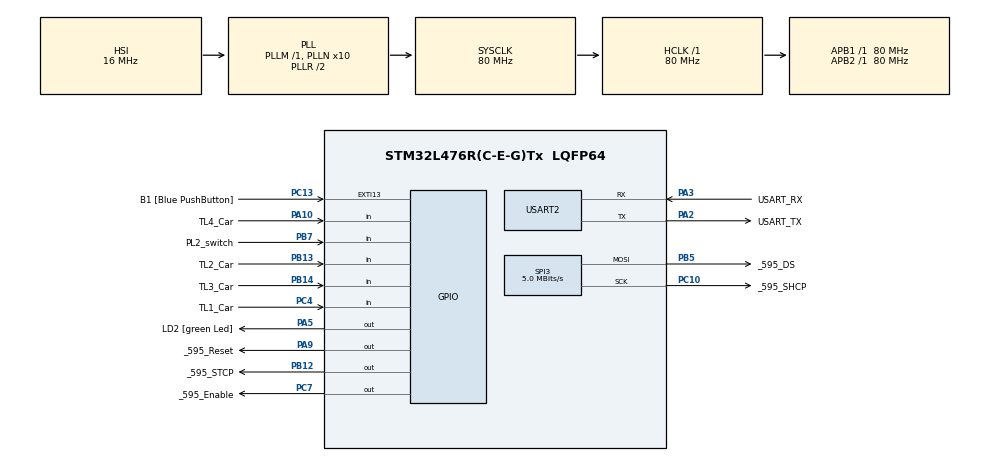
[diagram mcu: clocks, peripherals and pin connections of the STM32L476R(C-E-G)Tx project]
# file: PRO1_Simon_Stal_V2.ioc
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FREERTOS.Mutexes01=SharedData,Dynamic,NULL,Available
FREERTOS.Tasks01=defaultTask,24,128,StartDefaultTask,Default,NULL,Dynamic,NULL,NULL;TrafficStates,24,128,TrafficState,Default,NULL,Dynamic,NULL,NULL;UserInput,8,128,Userinputs,Default,NULL,Dynamic,NULL,NULL
FREERTOS.configUSE_NEWLIB_REENTRANT=1
Mcu.Family=STM32L4
Mcu.Name=STM32L476R(C-E-G)Tx
Mcu.Package=LQFP64
NVIC.PriorityGroup=NVIC_PRIORITYGROUP_4
NVIC.TIM1_UP_TIM16_IRQn=true\:15\:0\:false\:false\:true\:false\:false\:true\:true
NVIC.TimeBase=TIM1_UP_TIM16_IRQn
NVIC.TimeBaseIP=TIM1
NVIC.USART2_IRQn=true\:5\:0\:false\:false\:true\:true\:true\:true\:true
PA10.GPIO_Label=TL4_Car
PA10.GPIO_PuPd=GPIO_PULLUP
PA10.Signal=GPIO_Input
PA13\ (JTMS-SWDIO).GPIO_Label=TMS
PA13\ (JTMS-SWDIO).Mode=Serial_Wire
PA13\ (JTMS-SWDIO).Signal=SYS_JTMS-SWDIO
PA14\ (JTCK-SWCLK).GPIO_Label=TCK
PA14\ (JTCK-SWCLK).Mode=Serial_Wire
PA14\ (JTCK-SWCLK).Signal=SYS_JTCK-SWCLK
PA2.GPIO_Label=USART_TX
PA2.GPIO_Mode=GPIO_MODE_AF_PP
PA2.GPIO_PuPd=GPIO_NOPULL
PA2.GPIO_Speed=GPIO_SPEED_FREQ_VERY_HIGH
PA2.Mode=Asynchronous
PA2.Signal=USART2_TX
PA3.GPIO_Label=USART_RX
PA3.GPIO_Mode=GPIO_MODE_AF_PP
PA3.GPIO_PuPd=GPIO_NOPULL
PA3.GPIO_Speed=GPIO_SPEED_FREQ_VERY_HIGH
PA3.Mode=Asynchronous
PA3.Signal=USART2_RX
PA5.GPIO_Label=LD2 [green Led]
PA5.GPIO_ModeDefaultOutputPP=GPIO_MODE_OUTPUT_PP
PA5.GPIO_PuPd=GPIO_NOPULL
PA5.GPIO_Speed=GPIO_SPEED_FREQ_LOW
PA5.Signal=GPIO_Output
PA9.GPIO_Label=_595_Reset
PA9.Signal=GPIO_Output
PB12.GPIO_Label=_595_STCP
PB12.Signal=GPIO_Output
PB13.GPIO_Label=TL2_Car
PB13.GPIO_PuPd=GPIO_PULLUP
PB13.Signal=GPIO_Input
PB14.GPIO_Label=TL3_Car
PB14.GPIO_PuPd=GPIO_PULLUP
PB14.Signal=GPIO_Input
PB3\ (JTDO-TRACESWO).GPIO_Label=SWO
PB3\ (JTDO-TRACESWO).Signal=SYS_JTDO-SWO
PB5.GPIO_Label=_595_DS
PB5.Mode=TX_Only_Simplex_Unidirect_Master
PB5.Signal=SPI3_MOSI
PB7.GPIO_Label=PL2_switch
PB7.GPIO_PuPd=GPIO_PULLUP
PB7.Signal=GPIO_Input
PC10.GPIO_Label=_595_SHCP
PC10.Mode=TX_Only_Simplex_Unidirect_Master
PC10.Signal=SPI3_SCK
PC13.GPIO_Label=B1 [Blue PushButton]
PC13.GPIO_ModeDefaultEXTI=GPIO_MODE_IT_FALLING
PC13.GPIO_PuPd=GPIO_NOPULL
PC13.Signal=GPXTI13
PC14-OSC32_IN\ (PC14).Mode=LSE-External-Oscillator
PC14-OSC32_IN\ (PC14).Signal=RCC_OSC32_IN
PC15-OSC32_OUT\ (PC15).Mode=LSE-External-Oscillator
PC15-OSC32_OUT\ (PC15).Signal=RCC_OSC32_OUT
PC4.GPIO_Label=TL1_Car
PC4.GPIO_PuPd=GPIO_PULLUP
PC4.Signal=GPIO_Input
PC7.GPIO_Label=_595_Enable
PC7.Signal=GPIO_Output
PH0-OSC_IN\ (PH0).Signal=RCC_OSC_IN
PH1-OSC_OUT\ (PH1).Signal=RCC_OSC_OUT
ProjectManager.HeapSize=0x200
ProjectManager.StackSize=0x400
ProjectManager.TargetToolchain=STM32CubeIDE
RCC.ADCFreq_Value=64000000
RCC.AHBFreq_Value=80000000
RCC.APB1Freq_Value=80000000
RCC.APB1TimFreq_Value=80000000
RCC.APB2Freq_Value=80000000
RCC.APB2TimFreq_Value=80000000
RCC.CortexFreq_Value=80000000
RCC.HCLKFreq_Value=80000000
RCC.HSE_VALUE=8000000
RCC.HSI_VALUE=16000000
RCC.MSI_VALUE=4000000
RCC.PLLN=10
RCC.PLLSourceVirtual=RCC_PLLSOURCE_HSI
RCC.PREFETCH_ENABLE=1
RCC.SYSCLKFreq_VALUE=80000000
RCC.SYSCLKSource=RCC_SYSCLKSOURCE_PLLCLK
RCC.USBFreq_Value=64000000
RCC.VCOOutputFreq_Value=160000000
SPI3.BaudRatePrescaler=SPI_BAUDRATEPRESCALER_16
SPI3.CalculateBaudRate=5.0 MBits/s
SPI3.DataSize=SPI_DATASIZE_8BIT
SPI3.Direction=SPI_DIRECTION_2LINES
SPI3.Mode=SPI_MODE_MASTER
SPI3.VirtualType=VM_MASTER
USART2.VirtualMode-Asynchronous=VM_ASYNC
VP_FREERTOS_VS_CMSIS_V2.Mode=CMSIS_V2
VP_SYS_VS_tim1.Mode=TIM1
board=NUCLEO-L476RG

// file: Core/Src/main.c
/* USER CODE BEGIN Header */
/**
  ******************************************************************************
  * @file           : main.c
  * @brief          : Main program body
  ******************************************************************************
  * @attention
  *
  * Copyright (c) 2025 STMicroelectronics.
  * All rights reserved.
  *
  * This software is licensed under terms that can be found in the LICENSE file
  * in the root directory of this software component.
  * If no LICENSE file comes with this software, it is provided AS-IS.
  *
  ******************************************************************************
  */
/* USER CODE END Header */
#include "main.h"
#include "cmsis_os.h"
#include "spi.h"
#include "usart.h"
#include "gpio.h"

/* USER CODE BEGIN PD */
#define RUN_TEST_PROGRAM
/* USER CODE END PD */

void SystemClock_Config(void);
void MX_FREERTOS_Init(void);

/* USER CODE BEGIN 0 */
#ifdef RUN_TEST_PROGRAM
#undef RUN_TEST_PROGRAM
extern void initialise_monitor_handles(void);
#endif
/* USER CODE END 0 */

int main(void)
{

  /* MCU Configuration--------------------------------------------------------*/

  /* Reset of all peripherals, Initializes the Flash interface and the Systick. */
  HAL_Init();

  /* Configure the system clock */
  SystemClock_Config();

  /* Initialize all configured peripherals */
  MX_GPIO_Init();
  MX_USART2_UART_Init();
  MX_SPI3_Init();
  /* USER CODE BEGIN 2 */
//#ifdef RUN_TEST_PROGRAM
//		test_program();
//#else
//		statemachine();
//#endif
  /* USER CODE END 2 */

  /* Init scheduler */
  osKernelInitialize();  /* Call init function for freertos objects (in cmsis_os2.c) */
  MX_FREERTOS_Init();

  /* Start scheduler */
  osKernelStart();

  /* We should never get here as control is now taken by the scheduler */

  /* Infinite loop */
  while (1)
  {

  }
}

void SystemClock_Config(void)
{
  RCC_OscInitTypeDef RCC_OscInitStruct = {0};
  RCC_ClkInitTypeDef RCC_ClkInitStruct = {0};

  /** Configure the main internal regulator output voltage
  */
  if (HAL_PWREx_ControlVoltageScaling(PWR_REGULATOR_VOLTAGE_SCALE1) != HAL_OK)
  {
    Error_Handler();
  }

  /** Initializes the RCC Oscillators according to the specified parameters
  * in the RCC_OscInitTypeDef structure.
  */
  RCC_OscInitStruct.OscillatorType = RCC_OSCILLATORTYPE_HSI;
  RCC_OscInitStruct.HSIState = RCC_HSI_ON;
  RCC_OscInitStruct.HSICalibrationValue = RCC_HSICALIBRATION_DEFAULT;
  RCC_OscInitStruct.PLL.PLLState = RCC_PLL_ON;
  RCC_OscInitStruct.PLL.PLLSource = RCC_PLLSOURCE_HSI;
  RCC_OscInitStruct.PLL.PLLM = 1;
  RCC_OscInitStruct.PLL.PLLN = 10;
  RCC_OscInitStruct.PLL.PLLP = RCC_PLLP_DIV7;
  RCC_OscInitStruct.PLL.PLLQ = RCC_PLLQ_DIV2;
  RCC_OscInitStruct.PLL.PLLR = RCC_PLLR_DIV2;
  if (HAL_RCC_OscConfig(&RCC_OscInitStruct) != HAL_OK)
  {
    Error_Handler();
  }

  /** Initializes the CPU, AHB and APB buses clocks
  */
  RCC_ClkInitStruct.ClockType = RCC_CLOCKTYPE_HCLK|RCC_CLOCKTYPE_SYSCLK
                              |RCC_CLOCKTYPE_PCLK1|RCC_CLOCKTYPE_PCLK2;
  RCC_ClkInitStruct.SYSCLKSource = RCC_SYSCLKSOURCE_PLLCLK;
  RCC_ClkInitStruct.AHBCLKDivider = RCC_SYSCLK_DIV1;
  RCC_ClkInitStruct.APB1CLKDivider = RCC_HCLK_DIV1;
  RCC_ClkInitStruct.APB2CLKDivider = RCC_HCLK_DIV1;

  if (HAL_RCC_ClockConfig(&RCC_ClkInitStruct, FLASH_LATENCY_4) != HAL_OK)
  {
    Error_Handler();
  }
}

void HAL_TIM_PeriodElapsedCallback(TIM_HandleTypeDef *htim)
{
  if (htim->Instance == TIM1)
  {
    HAL_IncTick();
  }
}

void Error_Handler(void)
{
  __disable_irq();
  while (1)
  {
  }
}

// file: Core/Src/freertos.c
/**
 * @file freertos.c
 * @brief Logic and task management for the Traffic Light System.
 * @details This file handles the FreeRTOS tasks, mutexes for shared data,
 * and the UART communication protocol.
 */

/* USER CODE BEGIN Header */
/*
  ******************************************************************************
  * File Name          : freertos.c
  * Description        : Code for freertos applications
  ******************************************************************************
  * @attention
  *
  * Copyright (c) 2025 STMicroelectronics.
  * All rights reserved.
  *
  * This software is licensed under terms that can be found in the LICENSE file
  * in the root directory of this software component.
  * If no LICENSE file comes with this software, it is provided AS-IS.
  *
  ******************************************************************************
  */
/* USER CODE END Header */

#include "FreeRTOS.h"
#include "task.h"
#include "main.h"
#include "cmsis_os.h"

/* USER CODE BEGIN Includes */
#include "trafficstates.h"
#include "io_handler.h"
#include "usart.h"
/* USER CODE END Includes */

/* USER CODE BEGIN Variables */

/**  @name UART Communication
 *  Variables and data buffer for serial communication.
 * @{ */
uint8_t msg_failed = 0x00;  /**< Error code: Returns if Message-ID is invalid or value is outside limits */
uint8_t msg_success = 0x01; /**< Success code: Returns if received UART data is valid */
uint8_t rx_data[4];			/**< Buffer for incomming UART data. [0] = ID , [1] = 0x00 , [2],[3] = value */
ITStatus UartReady = RESET; /**< is set to SET by UART callback when a package is recieved. */
/** @} */

/** @name Timing parameters
 * Shared timing variables updated via UART and read by TrafficState.
 * @{ */
 uint32_t toggleFreq = 200; /**< Frequency for flashing warning lights (ms). */
 uint32_t pedestrianDelay = 5000; /**< Maximum allowed time from  pedestrian pressed until car lanes shows red (ms). */
 uint32_t walkingDelay = 4000; /**< Duration of green light for crosswalk*/
 uint32_t orangeDelay = 3000; /**< Duration of orange light */
 uint32_t greenDelay = 3000; /**< Duration of green light when no traffic is detected */
 uint32_t redDelay = 500;   /**< Duration of red light */
 uint32_t redDelayMax = 6000; /**< Maximum allowed time a lane stays red when traffic is waiting  */
 /** @} */

 /** @name Traffic flags
  * Status flags for buttons and switches on the traffic shield
  * @{ */
uint8_t is_car_ns_waiting = 0; /**< Status flag: Vehicle detected North/South. */
uint8_t is_car_ew_waiting = 0; /**< Status flag: Vehicle detected East/West. */
uint8_t is_ped_ns_waiting = 0; /**< Status flag: Pedestrian button pressed. */
uint8_t ped_green = 0; 		   /**< Logic flag: Active when pedestrian light is green. */
/** @} */

/* USER CODE END Variables */
/** @name FREERTOS Resources
 * Declared threads and Mutex
 */
/* Definitions for defaultTask */
osThreadId_t defaultTaskHandle;
const osThreadAttr_t defaultTask_attributes = {
  .name = "defaultTask",
  .stack_size = 128 * 4,
  .priority = (osPriority_t) osPriorityNormal,
};
/* Definitions for TrafficStates */
osThreadId_t TrafficStatesHandle; /**< Handle for the main state machine task. */
const osThreadAttr_t TrafficStates_attributes = {
  .name = "TrafficStates",
  .stack_size = 128 * 4,
  .priority = (osPriority_t) osPriorityNormal,
};
/* Definitions for UserInput */
osThreadId_t UserInputHandle; /**< Handle for the inputs from switches and buttons*/
const osThreadAttr_t UserInput_attributes = {
  .name = "UserInput",
  .stack_size = 128 * 4,
  .priority = (osPriority_t) osPriorityLow,
};
/* Definitions for SharedData */
osMutexId_t SharedDataHandle; /**< Mutex to protect flags from race condition */
const osMutexAttr_t SharedData_attributes = {
  .name = "SharedData"
};
/** @} */

void StartDefaultTask(void *argument);
void TrafficState(void *argument);
void Userinputs(void *argument);

void MX_FREERTOS_Init(void); /* (MISRA C 2004 rule 8.1) */

/*
  * @brief  FreeRTOS initialization
  * @param  None
  * @retval None
  */
void MX_FREERTOS_Init(void) {
  /* Create the mutex(es) */
  /* creation of SharedData */
  SharedDataHandle = osMutexNew(&SharedData_attributes);

  /* Create the thread(s) */
  /* creation of defaultTask */
  defaultTaskHandle = osThreadNew(StartDefaultTask, NULL, &defaultTask_attributes);

  /* creation of TrafficStates */
  TrafficStatesHandle = osThreadNew(TrafficState, NULL, &TrafficStates_attributes);

  /* creation of UserInput */
  UserInputHandle = osThreadNew(Userinputs, NULL, &UserInput_attributes);

}

/* USER CODE BEGIN Header_StartDefaultTask */
/*
  * @brief  Function implementing the defaultTask thread.
  * @param  argument: Not used
  * @retval None
  */
/* USER CODE END Header_StartDefaultTask */
void StartDefaultTask(void *argument)
{
  for(;;)
  {
    osDelay(1);
  }
}

/* USER CODE BEGIN Header_TrafficState */
/**
* @brief Main logic task: Hanldles the traffic lights transitions and updates hardware.
* It performs the following steps:
* 1. Updates timing parameters and check for incomming UART data.
* 2. Using Mutex to safely read global variables from the userinput task
* 3. Calls update_traffic_states() to decide if the lights should change colour based on timers and inputs from buttons or switches.
* 4. Controls the extra lights such as  the blinking blue light for people waiting and the green light for walking.
* 5. Turns the actual LEDs on or off to show the correct traffic light colors
* @param argument: Not used
* @retval None
*/
/* USER CODE END Header_TrafficState */
void TrafficState(void *argument)
{
  /* USER CODE BEGIN TrafficState */
  /* Infinite loop */

  // UART receive message
  HAL_UART_Receive_IT(&huart2, rx_data, 4);

  //Tick counter, this works as our clock in the system
  uint32_t start_time = xTaskGetTickCount() * portTICK_PERIOD_MS;
  uint32_t current_time = 0;

  uint8_t blue_status = 0;
  uint8_t green_status = 0;

  static uint32_t blink_timer = 0;
  static uint32_t green_timer = 0;
  static Trafficlights states = NS_GREEN;

  static uint8_t n_ped_wait = NO;
  uint8_t car_ns = NO;
  uint8_t car_ew = NO;

  for(;;)
  {
	  if(UartReady == SET){

		  update_time(rx_data);
		  UartReady = RESET;
	  }

	  current_time = xTaskGetTickCount() * portTICK_PERIOD_MS;

	  if(osMutexAcquire(SharedDataHandle, osWaitForever) == osOK){

		  car_ns = is_car_ns_waiting;
		  car_ew = is_car_ew_waiting;

		  if(is_ped_ns_waiting == YES){
		 	    n_ped_wait = YES;
		 	    is_ped_ns_waiting = NO;

		 }
		  osMutexRelease(SharedDataHandle);
	  }

	        update_traffic_states(&start_time, current_time,  &states,  &n_ped_wait,  car_ns,  car_ew);

	        if(n_ped_wait == YES){
	            blue_status = toggle_bluelights(&blink_timer, current_time);
	        }
	        else{
	        	blue_status = 0;
	        }
	        if(ped_green == YES){
	        	if(green_timer == 0){
	        		green_timer = current_time;
	        	}
	        	green_status = greenlights(&green_timer, current_time);

	        	if(green_status == 0){
	        		ped_green = NO;
	        		green_timer = 0;
	        	}
	        }else{
	        	green_status = 0;
	        }

	        update_lights_hardware(states, blue_status, green_status);

	        osDelay(10);

  }
  /* USER CODE END TrafficState */
}

/* USER CODE BEGIN Header_Userinputs */
/**
* @brief User input task: Register if someone has pressed the pedestrian button or vehicles are present.
* It performs the following:
* 1. Check if a pedestrian has pressed a button.
* 2. Check if a car is waiting in the North-South lane.
* 3. Check if a car is waiting in the East-West lane.
* 4. Uses a mutex to safely update the global variables
* @param argument: Not used
* @retval None
*/
/* USER CODE END Header_Userinputs */
void Userinputs(void *argument)
{
  /* USER CODE BEGIN Userinputs */
	uint8_t is_temp_nsPed_waiting = NO;
	uint8_t is_temp_ewCar_waiting = NO;
	uint8_t is_temp_nsCar_waiting = NO;

  /* Infinite loop */
  for(;;)
  {

	        if(read_input(NORTH_PEDESTRIAN) == DETECTED)
	        {
	            osDelay(20);
	            if(read_input(NORTH_PEDESTRIAN) == DETECTED)
	            {

	            	is_temp_nsPed_waiting = YES;
	            }

	        }

	        if((read_input(CAR_NORTH) == DETECTED) || (read_input(CAR_SOUTH) == DETECTED)){
	        	is_temp_nsCar_waiting = YES;
	        } else {
	        	is_temp_nsCar_waiting = NO;
	        }

	        if((read_input(CAR_WEST) == DETECTED) || (read_input(CAR_EAST) == DETECTED)){
	        	is_temp_ewCar_waiting = YES;
	        } else {
	        	is_temp_ewCar_waiting = NO;
	        }

	        if(osMutexAcquire(SharedDataHandle, osWaitForever) == osOK){
	        	is_car_ns_waiting = is_temp_nsCar_waiting;
	        	is_car_ew_waiting = is_temp_ewCar_waiting;

	        	if(is_temp_nsPed_waiting == YES){
	        		is_ped_ns_waiting = YES;
	        		is_temp_nsPed_waiting = NO;
	        	}
	        	osMutexRelease(SharedDataHandle);
	        }

	        osDelay(10); // Kör ca 100 gånger i sekunden
	    }

  /* USER CODE END Userinputs */
}

/* USER CODE BEGIN Application */
/**
* @brief UART Callback: Runs automatically when a full message is received.
* * This function handles the finished data transfer:
* 1. Sets the 'UartReady' flag to tell the main brain that new data is waiting.
* 2. Starts a new listen mode so the system can receive the next 4 bytes.
*
* @param huart Pointer to the UART hardware structure.
* @retval None
*/

void HAL_UART_RxCpltCallback(UART_HandleTypeDef *huart2)
{
  /* Prevent unused argument(s) compilation warning */
  UNUSED(huart2);

  /* NOTE : This function should not be modified, when the callback is needed,
            the HAL_UART_RxCpltCallback can be implemented in the user file.
   */
  UartReady = SET;

  HAL_UART_Receive_IT(huart2, rx_data, 4);
}

/* USER CODE END Application */
